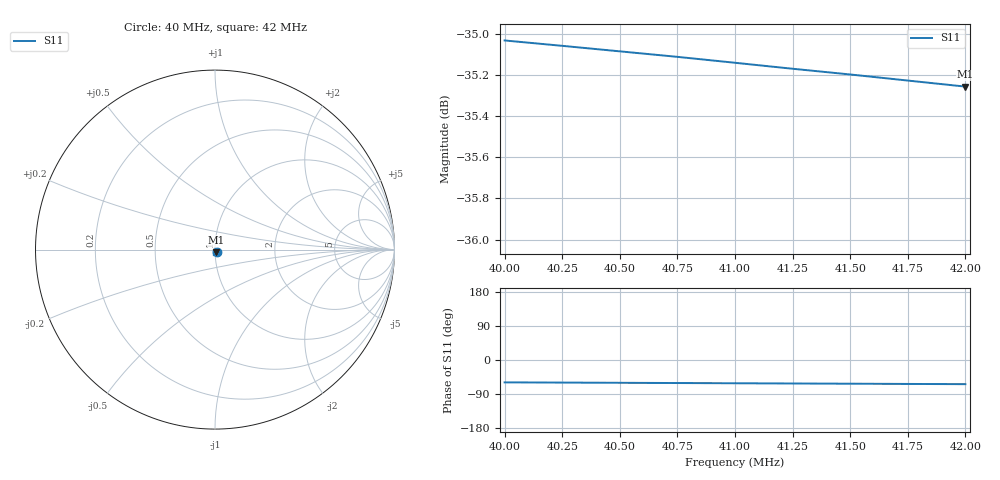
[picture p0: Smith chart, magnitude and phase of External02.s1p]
# Hz S RI R 50
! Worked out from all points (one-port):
!   9 points, 40 MHz to 42 MHz, reference 50 ohm
!   lowest |S11| = -35.3 dB at 42 MHz (marker M1), VSWR 1.04, Z = 50.7 - j1.57 ohm
!   |S11| at or under -10 dB: start of sweep to end of sweep
4e7  0.00912 -0.0152
4.025e7  0.00894 -0.0152
4.05e7  0.00876 -0.0153
4.075e7  0.00857 -0.0153
4.1e7  0.00838 -0.0154
4.125e7  0.00819 -0.0154
4.15e7  0.00801 -0.0154
4.175e7  0.00782 -0.0155
4.2e7  0.00763 -0.0155
